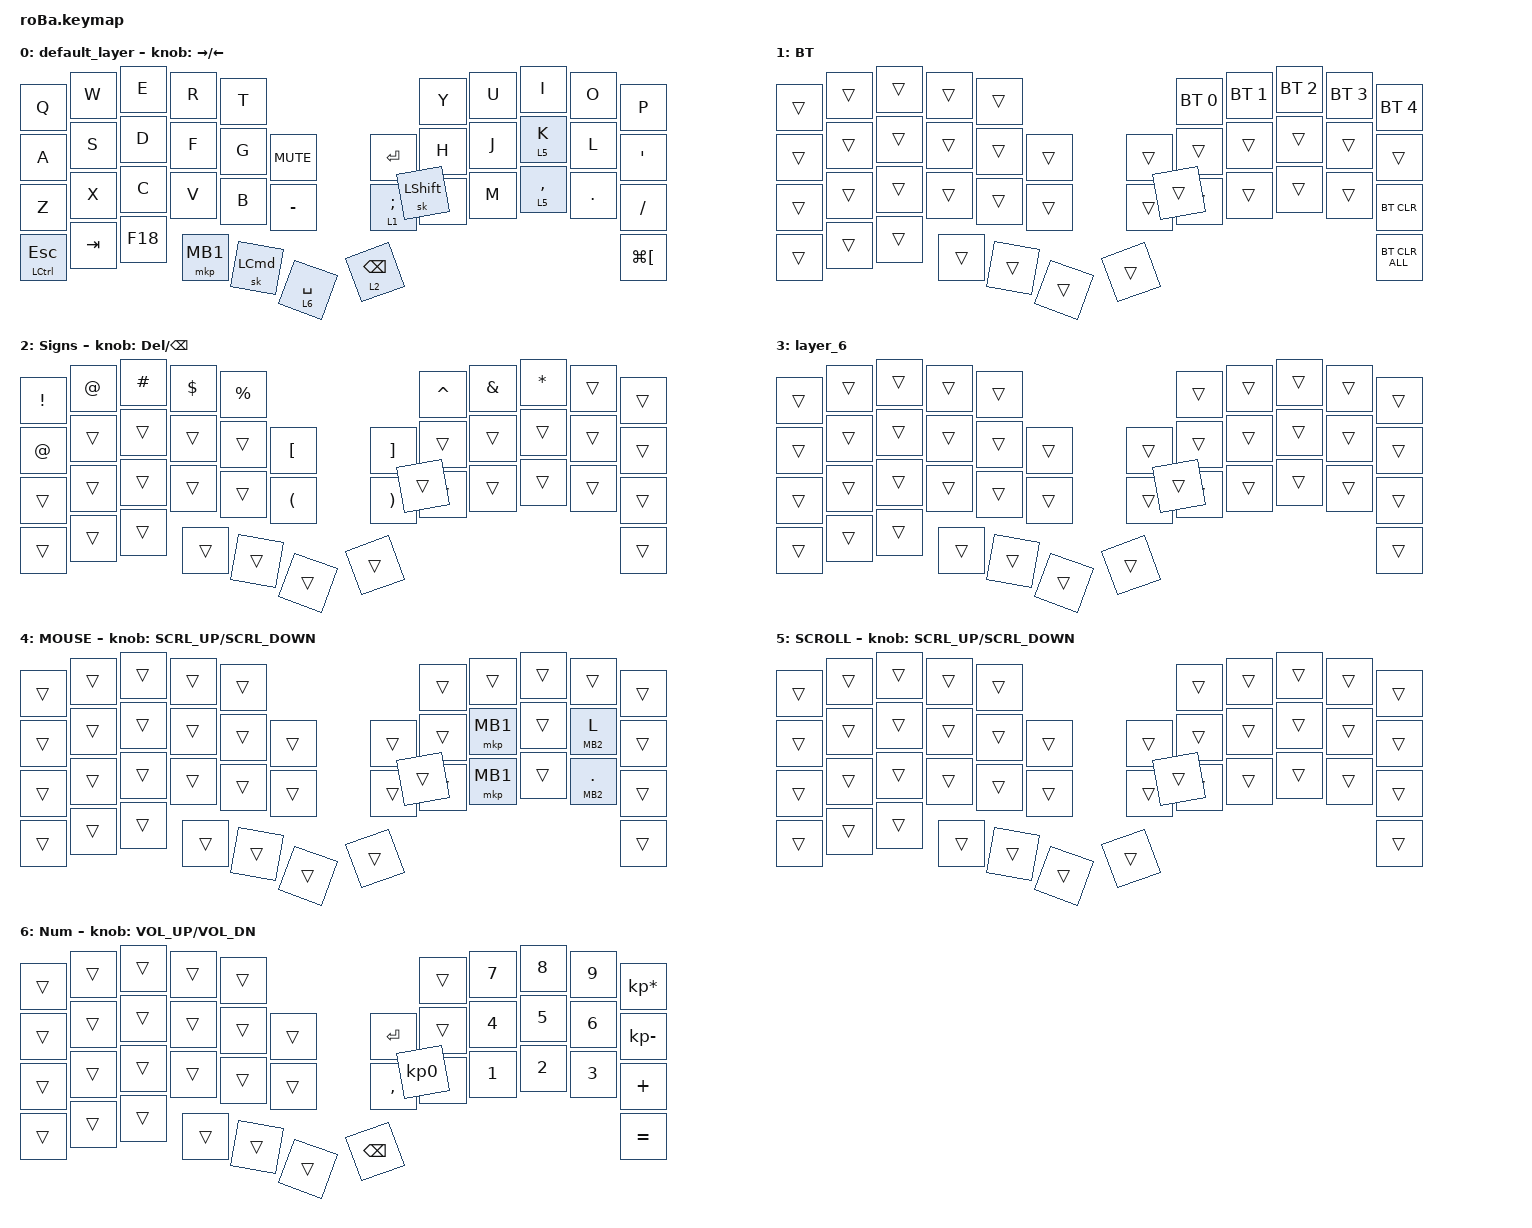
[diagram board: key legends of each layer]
#include <dt-bindings/zmk/mouse.h>
#include <behaviors.dtsi>
#include <dt-bindings/zmk/bt.h>
#include <dt-bindings/zmk/keys.h>

/* tamanho do passo de scroll do encoder (com smooth scrolling ligado);
 * valor da comunidade roBa — ajustar se scrollar demais/de menos */
/* &msc é taxa POR SEGUNDO: total por detent = SCRL_VAL x tap-ms/1000.
 * 2400 x 60ms = ~144 unidades hi-res (~1,2 tick de rodinha), espalhadas
 * em micro-reports = scroll smooth estilo trackpad, sem lag. */
/* Velocidade por detent = SCRL_VAL x tap-ms/1000 (dial de velocidade: SCRL_VAL).
 * 3600 x 10ms = ~36 unidades hi-res por detent (~1 linha) — mesma velocidade
 * do antigo 1800x20ms, mas tap de 10ms corta pela metade a janela em que
 * detents consecutivos colidem e se perdem em giro rápido. */
#define ZMK_POINTING_DEFAULT_SCRL_VAL 3600

#include <dt-bindings/zmk/pointing.h>

&mt {
    flavor = "balanced";
    tapping-term-ms = <280>;
    quick-tap-ms = <175>;
    require-prior-idle-ms = <150>;
};

&lt {
    flavor = "balanced";
    quick-tap-ms = <175>;
    require-prior-idle-ms = <150>;
};

/* Sticky keys (Cmd, Shift): solta o mod no PRESS da tecla seguinte, não no
 * release — digitando rápido, "Ex" não vira mais "EX". */

&sk { quick-release; };

&trackball {
    automouse-layer = <4>;
    scroll-layers = <5>;

    // arrows {
    //     layers = <3>;
    //     bindings =
    //         <&kp RIGHT_ARROW>,
    //         <&kp LEFT_ARROW>,
    //         <&kp UP_ARROW>,
    //         <&kp DOWN_ARROW>;
    //     tick = <10>;
    //     wait-ms = <5>;
    //     tap-ms = <5>;
    // };
};

/ {
    /* layers = <0 4> em todos. Combo é global por default e várias posições
     * caem em cima de teclas reais da Num: print (31 32) fica em N2+N3, então
     * digitar "23" rápido tirava screenshot; double_quotation (20 21) fica em
     * N6+MINUS; as de janela pegam N7/N8/N9 e N1/N2.
     *
     * O ZMK filtra combo pela layer ativa MAIS ALTA. Com a Num na 6 (acima da
     * automouse), segurar Space põe a mais alta em 6 e nenhum combo desta
     * lista dispara, mesmo com o trackball esbarrado. Listar a 4 mantém os
     * combos vivos durante a janela do automouse, que é quando você usa
     * screenshot e gerenciamento de janela. */

    combos {
        compatible = "zmk,combos";

        double_quotation {
            bindings = <&kp DOUBLE_QUOTES>;
            key-positions = <20 21>;
            require-prior-idle-ms = <150>;
            layers = <0 4>;
        };

        til {
            bindings = <&kp TILDE>;
            key-positions = <0 1>;
            require-prior-idle-ms = <150>;
            layers = <0 4>;
        };

        play {
            bindings = <&play>;
            key-positions = <35 34>;
            require-prior-idle-ms = <150>;
            layers = <0 4>;
        };

        next {
            bindings = <&next>;
            key-positions = <35 36>;
            require-prior-idle-ms = <150>;
            layers = <0 4>;
        };

        print {
            bindings = <&print>;
            key-positions = <31 32>;
            require-prior-idle-ms = <150>;
            layers = <0 4>;
        };

        telaesquerda {
            bindings = <&telaesquerda>;
            key-positions = <5 6 7>;
            require-prior-idle-ms = <150>;
            layers = <0 4>;
        };

        telameio {
            bindings = <&telameio>;
            key-positions = <6 7 8>;
            require-prior-idle-ms = <150>;
            layers = <0 4>;
        };

        teladireita {
            bindings = <&teladireita>;
            key-positions = <9 8 7>;
            require-prior-idle-ms = <150>;
            layers = <0 4>;
        };

        reposicionar {
            bindings = <&redefinirtela>;
            key-positions = <28 29 30>;
            require-prior-idle-ms = <150>;
            layers = <0 4>;
        };

        telatoda {
            bindings = <&telatoda>;
            key-positions = <29 30 31>;
            require-prior-idle-ms = <150>;
            layers = <0 4>;
        };

        missioncontrol {
            bindings = <&kp LC(UP_ARROW)>;
            key-positions = <1 2 3>;
            require-prior-idle-ms = <150>;
            layers = <0 4>;
        };

        /* Combos livres pra mapear no Moom (26/10/2026). Ctrl+Opt + tecla do
         * meio de cada combo (J, K, L, virgula, ponto). F16-F18 foram a 1a tentativa e o
         * gravador de atalho do Moom nao detectou.
         * K L ' contem o combo L ' (aspas) e , . / contem o , . (print):
         * o ZMK espera o timeout do combo maior antes de decidir. */

        hjk {
            bindings = <&kp LC(LA(J))>;
            key-positions = <17 18 19>;
            require-prior-idle-ms = <150>;
            layers = <0 4>;
        };

        jkl {
            bindings = <&kp LC(LA(K))>;
            key-positions = <18 19 20>;
            require-prior-idle-ms = <150>;
            layers = <0 4>;
        };

        klsqt {
            bindings = <&kp LC(LA(L))>;
            key-positions = <19 20 21>;
            require-prior-idle-ms = <150>;
            layers = <0 4>;
        };

        mcommadot {
            bindings = <&kp LC(LA(COMMA))>;
            key-positions = <30 31 32>;
            require-prior-idle-ms = <150>;
            layers = <0 4>;
        };

        commadotslash {
            bindings = <&kp LC(LA(DOT))>;
            key-positions = <31 32 33>;
            require-prior-idle-ms = <150>;
            layers = <0 4>;
        };
    };

    macros {
        to_layer_0: to_layer_0 {
            compatible = "zmk,behavior-macro-one-param";
            #binding-cells = <1>;
            bindings = <&to 0 &macro_param_1to1 &kp MACRO_PLACEHOLDER>;
            label = "TO_LAYER_0";
        };

        print: print {
            compatible = "zmk,behavior-macro";
            #binding-cells = <0>;
            bindings = <&macro_tap>, <&kp LS(LG(NUMBER_4))>;

            label = "PRINT";
        };

        play: play {
            compatible = "zmk,behavior-macro";
            #binding-cells = <0>;
            bindings = <&macro_tap>, <&kp LG(LA(UP_ARROW))>;

            label = "PLAY";
        };

        next: next {
            compatible = "zmk,behavior-macro";
            #binding-cells = <0>;
            bindings = <&macro_tap>, <&kp LG(LA(RIGHT))>;

            label = "NEXT";
        };

        telaesquerda: telaesquerda {
            compatible = "zmk,behavior-macro";
            #binding-cells = <0>;
            bindings = <&macro_tap>, <&kp LC(LA(LEFT_ARROW))>;

            label = "TELAESQUERDA";
        };

        telameio: telameio {
            compatible = "zmk,behavior-macro";
            #binding-cells = <0>;
            bindings = <&macro_tap>, <&kp LC(LA(C))>;

            label = "TELAMEIO";
        };

        teladireita: teladireita {
            compatible = "zmk,behavior-macro";
            #binding-cells = <0>;
            bindings = <&macro_tap>, <&kp LC(LA(RIGHT_ARROW))>;

            label = "TELADIREITA";
        };

        redefinirtela: redefinirtela {
            compatible = "zmk,behavior-macro";
            #binding-cells = <0>;
            bindings = <&macro_tap>, <&kp LG(LC(LA(SPACE)))>;

            label = "REDEFINIRTELA";
        };

        telatoda: telatoda {
            compatible = "zmk,behavior-macro";
            #binding-cells = <0>;
            bindings = <&macro_tap>, <&kp LC(LA(F))>;

            label = "TELATODA";
        };
    };

    behaviors {
        mo_scroll: mo_scroll {
            compatible = "zmk,behavior-hold-tap";
            label = "MO_SCROLL";
            #binding-cells = <2>;
            flavor = "tap-preferred";
            tapping-term-ms = <160>;
            bindings = <&mo>, <&mkp>;
        };

        /* Tap-dance:
 * 1 tap  -> MB3
 * 2 taps -> Sticky layer 5 (SCROLL)
 */

        td_scroll: td_scroll {
            compatible = "zmk,behavior-tap-dance";
            label = "TD_SCROLL";
            #binding-cells = <0>;
            tapping-term-ms = <150>;

            /* 1 tap  -> mo_scroll (tap = MB3, hold = MO 5)
     * 2 taps -> sticky layer 5
     */

            bindings = <&mo_scroll 5 MB3 &sl 5>;
        };

        tap_key_hold_layer: tap_key_hold_layer {
            compatible = "zmk,behavior-hold-tap";
            label = "TAP_KEY_HOLD_LAYER";
            #binding-cells = <2>;
            flavor = "tap-preferred";
            tapping-term-ms = <120>;
            require-prior-idle-ms = <150>;

            /* tap = key
     * hold = momentary layer
     */

            bindings = <&mo>, <&kp>;
        };

        mo_kp: mo_kp {
            compatible = "zmk,behavior-hold-tap";
            label = "MO_KP";
            #binding-cells = <2>;
            flavor = "tap-preferred";
            tapping-term-ms = <150>;
            bindings = <&mo>, <&kp>;
        };

        mo_mouse_click: mo_mouse_click {
            compatible = "zmk,behavior-hold-tap";
            label = "MO_MOUSE_CLICK";
            #binding-cells = <2>;
            flavor = "tap-preferred";
            tapping-term-ms = <150>;
            bindings = <&mo>, <&mkp>;
        };

        /* Clique do mouse que vira letra quando você está digitando.
         * Usado no L da camada MOUSE (automouse). O problema: a automouse fica
         * armada por 1s depois do último report do sensor (AUTOMOUSE_TIMEOUT_MS),
         * e nessa janela o L saía como clique direito no meio de palavra. O
         * timeout é do driver, global — não dá pra encurtar só no L.
         * require-prior-idle-ms resolve pelo outro lado: se houve tecla nos
         * últimos 150ms, o hold-tap resolve como TAP na hora, então digitação
         * corrida nunca clica. Parado (pós-trackball): tap = letra, hold 200ms
         * = clique. J (MB1) segue &mkp puro, com o 1s inteiro. */

        mouse_letter: mouse_letter {
            compatible = "zmk,behavior-hold-tap";
            label = "MOUSE_LETTER";
            #binding-cells = <2>;
            flavor = "tap-preferred";

            /* 150ms pra armar o clique (era 200): o menu de contexto vinha
             * devagar demais. O require-prior-idle continua sendo a rede de
             * seguranca contra clique no meio de palavra. */

            tapping-term-ms = <150>;
            require-prior-idle-ms = <150>;

            /* hold = &mkp <botão>
             * tap  = &kp <letra>
             */

            bindings = <&mkp>, <&kp>;
        };

        lt_to_layer_0: lt_to_layer_0 {
            compatible = "zmk,behavior-hold-tap";
            label = "LAYER_TAP_TO_0";
            bindings = <&mo>, <&to_layer_0>;

            #binding-cells = <2>;
            tapping-term-ms = <200>;
        };

        // Encoder -> scroll de mouse (usa &msc)

        rot_scroll: rot_scroll {
            compatible = "zmk,behavior-sensor-rotate-var";
            label = "ROT_SCROLL";
            #sensor-binding-cells = <2>;

            // CW e CCW vão chamar &msc com parâmetros diferentes (SCRL_DOWN / SCRL_UP)
            // 10ms: mínimo que ainda garante o report sair; 20 perdia detents <20ms

            tap-ms = <10>;
            bindings = <&msc>, <&msc>;
        };

        // Tap dance na tecla A:
        // 1 toque  -> A
        // 2 toques -> @

        td_a: td_a {
            compatible = "zmk,behavior-tap-dance";
            label = "TD_A";
            #binding-cells = <0>;
            tapping-term-ms = <400>;      // pode ajustar depois se quiser mais rápido/lento
            bindings = <&kp A>, <&kp AT>;
        };

        // Tap dance na tecla Q:
        // 1 toque  -> Q
        // 2 toques -> !

        td_q: td_q {
            compatible = "zmk,behavior-tap-dance";
            label = "TD_Q";
            #binding-cells = <0>;
            tapping-term-ms = <400>;
            bindings = <&kp Q>, <&kp EXCLAMATION>;
        };

        /* Tecla -/~ : balanced, SEM prior-idle (26/10/2026; era hold-preferred).
         * hold-preferred virava til com qualquer tecla apertada durante o "-",
         * entao "-a" digitado corrido saia "ã". Balanced so da til se a letra
         * for apertada E SOLTA com o "-" ainda pra baixo. Custo aceito: no "ã"
         * o "a" precisa ser solto antes do "-".
         * O prior-idle continua fora: foi ele (nas regras globais do &mt) que
         * quebrava o "não" corrido, porque bloqueava o hold logo apos o "n".
         *
         * 25/11/2026: balanced -> tap-preferred. Balanced ainda dava til no
         * rolamento: em "e-mail", o "m" apertado E solto antes de soltar o "-"
         * virava "~m", entao era preciso soltar o "-" antes da letra seguinte.
         * Tap-preferred decide so pelo tempo: soltou antes de 200ms = "-",
         * qualquer que seja a tecla no meio. Til (pro "ã") = segurar o "-"
         * por 200ms ou mais e tocar a letra. Til avulso segue no combo Q+W. */

        /* 26/11/2026: tecla do traco virou &kp MINUS puro (til so no combo Q+W).
         * til_mt ficou sem uso; mantido pra voltar facil. */

        til_mt: til_mt {
            compatible = "zmk,behavior-hold-tap";
            #binding-cells = <2>;
            flavor = "tap-preferred";
            tapping-term-ms = <200>;
            quick-tap-ms = <175>;
            bindings = <&kp>, <&kp>;
        };

        /* Layer-tap dedicado do Space (camada Num). Sem quick-tap: re-segurar
         * o Space logo apos um espaco virava REPEAT de espaco em vez de layer.
         * Sem prior-idle: segurar Space ate 150ms depois da ultima tecla
         * resolvia como tap e o primeiro numero saia letra.
         *
         * 26/11/2026: o Backspace (camada Signs, encoder = Delete/Backspace) usa
         * este tambem. Com o &lt global, apagar com Backspace e logo segurar de
         * novo pra girar o encoder caia no quick-tap (175ms): virava Backspace
         * repetindo em vez da camada, e o encoder voltava a mandar setas. */

        lt_num: lt_num {
            compatible = "zmk,behavior-hold-tap";
            label = "LT_NUM";
            #binding-cells = <2>;
            flavor = "balanced";
            tapping-term-ms = <200>;
            bindings = <&mo>, <&kp>;
        };

        /* Layer-tap do Backspace (camada Signs, encoder = Delete/Backspace).
         * 26/11/2026: igual ao lt_num, mais hold-while-undecided: a camada liga
         * no PRESS, sem esperar os 200ms. Girar o encoder logo depois de
         * apertar ja apaga, nunca manda seta. Soltou rapido sem outra tecla:
         * camada desliga e sai Backspace normal. */

        lt_bspc: lt_bspc {
            compatible = "zmk,behavior-hold-tap";
            label = "LT_BSPC";
            #binding-cells = <2>;
            flavor = "balanced";
            tapping-term-ms = <200>;
            hold-while-undecided;
            bindings = <&mo>, <&kp>;
        };

        til_dash: til_dash {
            compatible = "zmk,behavior-hold-tap";
            label = "TIL_DASH";
            #binding-cells = <2>;
            flavor = "balanced";
            tapping-term-ms = <150>;

            /* hold  = &mo <layer>
             * tap   = &kp <keycode>
             */

            bindings = <&mo>, <&kp>;
        };
    };

    keymap {
        compatible = "zmk,keymap";

        default_layer {
            bindings = <
&kp Q                    &kp W    &kp E           &kp R     &kp T                                                                     &kp Y           &kp U  &kp I                    &kp O    &kp P
&kp A                    &kp S    &kp D           &kp F     &kp G                               &kp C_MUTE           &kp RETURN       &kp H           &kp J  &tap_key_hold_layer 5 K      &kp L    &kp SQT
&kp Z                    &kp X    &kp C           &kp V     &kp B                               &kp MINUS                &lt 1 SEMI       &kp N           &kp M  &tap_key_hold_layer 5 COMMA  &kp DOT  &kp SLASH
&mt LEFT_CONTROL ESCAPE  &kp TAB  &kp F18         &mkp MB1  &sk LEFT_COMMAND                    &lt_num 6 SPACE          &lt_bspc 2 BACKSPACE  &sk LEFT_SHIFT                                           &kp LG(LEFT_BRACKET)
            >;

            sensor-bindings = <&inc_dec_kp RIGHT_ARROW LEFT_ARROW>;
        };

        /* ÍNDICE 1. Trocou de lugar com a Num de propósito: ver comentário na
         * Num, lá embaixo. Alcançada por &lt 1 SEMI.
         *
         * &bootloader saiu da posição 0 (tecla Q) em 28/07. Segurar ";" e tocar
         * Q punha a metade DIREITA, que é a central do split, em modo DFU: o
         * teclado inteiro morria e só voltava tirando e pondo a bateria, que é
         * exatamente o sintoma que a gente vinha tratando como queda de sinal.
         * Pra entrar em DFU agora: duplo toque no botão de reset do XIAO. */

        BT {
            bindings = <
&trans       &trans  &trans  &trans  &trans                      &bt BT_SEL 0  &bt BT_SEL 1  &bt BT_SEL 2  &bt BT_SEL 3  &bt BT_SEL 4
&trans       &trans  &trans  &trans  &trans  &trans      &trans  &trans        &trans        &trans        &trans        &trans
&trans       &trans  &trans  &trans  &trans  &trans      &trans  &trans        &trans        &trans        &trans        &bt BT_CLR
&trans       &trans  &trans  &trans  &trans  &trans      &trans  &trans                                                  &bt BT_CLR_ALL
            >;
        };

        Signs {
            bindings = <
&kp EXCLAMATION  &kp AT  &kp HASH  &kp DOLLAR  &kp PERCENT                                                   &kp CARET  &kp AMPERSAND  &kp ASTERISK  &trans  &trans
&kp AT           &trans  &trans    &trans      &trans       &kp LEFT_BRACKET          &kp RIGHT_BRACKET      &trans     &trans         &trans        &trans  &trans
&trans           &trans  &trans    &trans      &trans       &kp LEFT_PARENTHESIS      &kp RIGHT_PARENTHESIS  &trans     &trans         &trans        &trans  &trans
&trans           &trans  &trans    &trans      &trans       &trans                    &trans                 &trans                                          &trans
            >;

            sensor-bindings = <&inc_dec_kp DELETE BACKSPACE>;
        };

        layer_6 {
            bindings = <
&trans  &trans  &trans  &trans  &trans                      &trans  &trans  &trans  &trans  &trans
&trans  &trans  &trans  &trans  &trans  &trans      &trans  &trans  &trans  &trans  &trans  &trans
&trans  &trans  &trans  &trans  &trans  &trans      &trans  &trans  &trans  &trans  &trans  &trans
&trans  &trans  &trans  &trans  &trans  &trans      &trans  &trans                          &trans
            >;
        };

        /* Automouse (layer 4). Só J = clique e L = clique direito; TODO o resto
         * é &trans de propósito.
         *
         * Antes esta camada REPETIA o alfabeto inteiro. Como layer ativa mais
         * alta ganha, um esbarrão no trackball armava a MOUSE e ela sobrescrevia
         * a Num (layer 1) que estava embaixo: segurando Space pra digitar
         * número, saía a LETRA (7/8/9 viram U/I/O). Com &trans, a MOUSE não
         * tapa mais nada, cai pra camada de baixo, seja base ou Num.
         *
         * 25/11/2026: cliques duplicados uma linha abaixo. Clique esquerdo no J
         * e no M, clique direito (mouse_letter) no L e no ponto, segurar pra
         * scroll no K e na virgula (esses dois na base).
         * Na Num (camada 6, acima desta) M, virgula e ponto sao N1, N2 e N3. */

        MOUSE {
            bindings = <
&trans  &trans  &trans  &trans  &trans                      &trans  &trans    &trans  &trans    &trans
&trans  &trans  &trans  &trans  &trans  &trans      &trans  &trans  &mkp MB1  &trans  &mouse_letter MB2 L    &trans
&trans  &trans  &trans  &trans  &trans  &trans      &trans  &trans  &mkp MB1  &trans  &mouse_letter MB2 DOT  &trans
&trans  &trans  &trans  &trans  &trans  &trans      &trans  &trans                                         &trans
            >;

            sensor-bindings = <&rot_scroll SCRL_UP SCRL_DOWN>;
        };

        SCROLL {
            bindings = <
&trans  &trans  &trans  &trans  &trans                      &trans  &trans  &trans  &trans  &trans
&trans  &trans  &trans  &trans  &trans  &trans      &trans  &trans  &trans  &trans  &trans  &trans
&trans  &trans  &trans  &trans  &trans  &trans      &trans  &trans  &trans  &trans  &trans  &trans
&trans  &trans  &trans  &trans  &trans  &trans      &trans  &trans                          &trans
            >;

            sensor-bindings = <&rot_scroll SCRL_UP SCRL_DOWN>;
        };

        /* 25/11/2026 (2a rodada): Mute voltou pra base como C_MUTE e o F18 foi pro
         * lugar do clique do meio (&mkp MCLK, abaixo do C), que o Matheus nao usa.
         * Aqui na Num a tecla interna esquerda virou &trans (cai no Mute da base).
         *
         * 25/11/2026: Mute mora aqui (segurar Space + tecla interna esquerda),
         * junto do volume no encoder. Era &kp K_MUTE na base, que e a tecla
         * Mute do teclado HID (0x7F) e o macOS ignora; C_MUTE e a de consumo,
         * a mesma do volume. Na base essa tecla virou F18 (ditado do T3 pelo
         * Hammerspoon, ditado/enter.lua). */

        /* ÍNDICE 6, a mais alta. Declarada por último de propósito.
         *
         * Camada ativa mais alta ganha. Enquanto a Num era 1 e a automouse 4,
         * um esbarrão no trackball com Space segurado punha a MOUSE por cima:
         * primeiro isso trocava número por letra (resolvido pondo &trans na
         * MOUSE), e sobrava o MB1 no J e o MB2 no L caindo em cima do N4 e do
         * N6, ou seja, digitar "4" clicava de verdade na tela e "6" abria menu
         * de contexto. Com a Num acima de tudo, nada mais a sobrescreve.
         *
         * Trocou de posição com a BT, que foi pra 1. Custo: só os dois índices
         * em &lt_num 6 SPACE e &lt 1 SEMI. */

        Num {
            bindings = <
&trans  &trans  &trans  &trans  &trans                             &trans           &kp N7  &kp N8  &kp N9  &kp KP_MULTIPLY
&trans  &trans  &trans  &trans  &trans  &trans      &kp ENTER      &trans           &kp N4  &kp N5  &kp N6  &kp KP_SUBTRACT
&trans  &trans  &trans  &trans  &trans  &trans      &kp COMMA      &kp DOT          &kp N1  &kp N2  &kp N3  &kp PLUS
&trans  &trans  &trans  &trans  &trans  &trans      &kp BACKSPACE  &kp KP_NUMBER_0                          &kp EQUAL
            >;

            sensor-bindings = <&inc_dec_kp C_VOL_UP C_VOL_DN>;
        };
    };
};
